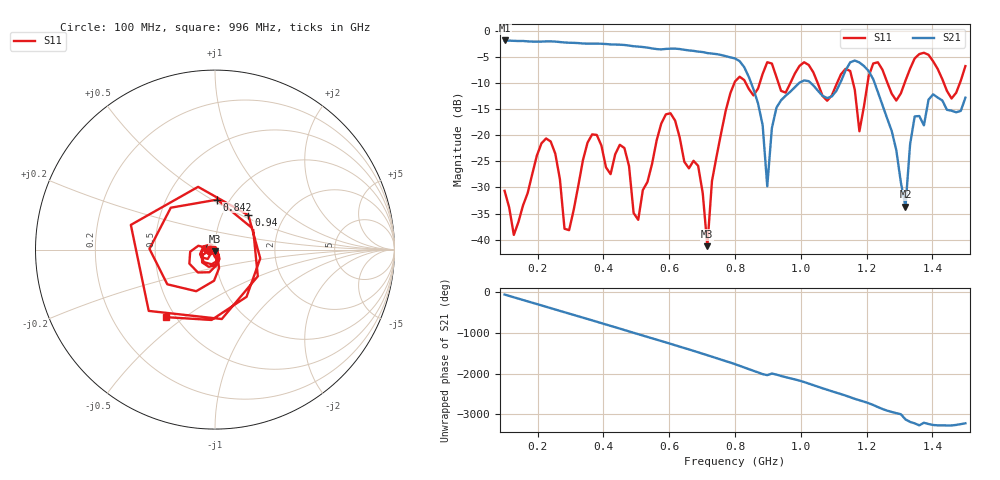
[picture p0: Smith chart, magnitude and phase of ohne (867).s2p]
! NanoVNA-App
! Date: 2025-09-25 14:27:33
! Start: 100MHz Stop: 1,5GHz Points: 101
! S-Parameter data: F S11 S21 S12 S22
# Hz S RI R 50
!  Frequency  S11_Real  S11_Imag  S21_Real  S21_Imag  S12_Real  S12_Imag  S22_Real  S22_Imag
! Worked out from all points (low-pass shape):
!   101 points, 100 MHz to 1.5 GHz, reference 50 ohm
!   highest |S21| = -1.79 dB at 100 MHz (marker M1); lowest = -33.7 dB at 1.318 GHz (marker M2)
!   |S21| within 3 dB of the highest: start of sweep to 771 MHz
!   lowest |S11| = -41.3 dB at 716 MHz (marker M3), VSWR 1.02, Z = 49.8 - j0.841 ohm
!   |S11| at or under -10 dB: start of sweep to 797.9 MHz; 833 MHz to 875.1 MHz (42.05 MHz wide, 4.92 % of centre); 1.052 GHz to 1.11 GHz (58.32 MHz wide, 5.4 % of centre) (the widest 3 of 7)
!   S12 and S22 are empty: the file has one direction only
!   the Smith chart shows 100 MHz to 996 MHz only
!   S11 on the Smith chart (normalised r, x): 100 MHz: 0.94, -0.01; 842 MHz: 0.88, +0.53; 940 MHz: 1.33, +0.55; 996 MHz: 0.45, -0.43
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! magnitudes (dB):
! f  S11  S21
! 100 MHz  -30.6  -1.8
! 128 MHz  -39.1  -1.9
! 226 MHz  -20.6  -2.0
! 296 MHz  -38.2  -2.2
! 338 MHz  -24.8  -2.4
! 464 MHz  -22.4  -2.7
! 506 MHz  -36.2  -3.0
! 576 MHz  -17.7  -3.5
! 688 MHz  -25.8  -3.9
! 716 MHz  -41.3  -4.2
! 800 MHz  -9.7  -5.2
! 842 MHz  -11.1  -8.8
! 898 MHz  -6.0  -29.8
! 940 MHz  -11.5  -13.3
! 996 MHz  -6.7  -9.9
! 1.038 GHz  -7.9  -10.4
! 1.178 GHz  -19.2  -6.0
! 1.22 GHz  -6.2  -9.2
! 1.276 GHz  -12.0  -19.1
! 1.318 GHz  -9.5  -33.7
! 1.346 GHz  -5.2  -16.4
! 1.5 GHz  -6.7  -12.8
